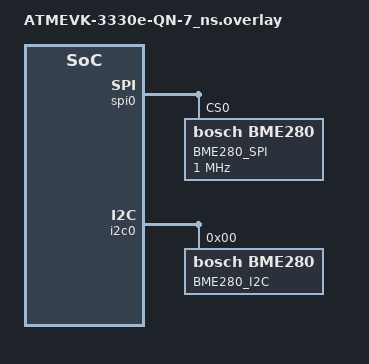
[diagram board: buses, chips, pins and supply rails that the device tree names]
/*
 * Copyright (c) 2023 Atmosic
 *
 * SPDX-License-Identifier: Apache-2.0
 */

&spi0 {
	status = "okay";
	bme280@0 {
		compatible = "bosch,bme280";
		reg = <0>;
		label = "BME280_SPI";
		spi-max-frequency = <1000000>;
	};
};

&i2c0 {
	status = "okay";
	bme280@0 {
		compatible = "bosch,bme280";
		reg = <0>;
		label = "BME280_I2C";
	};
};
